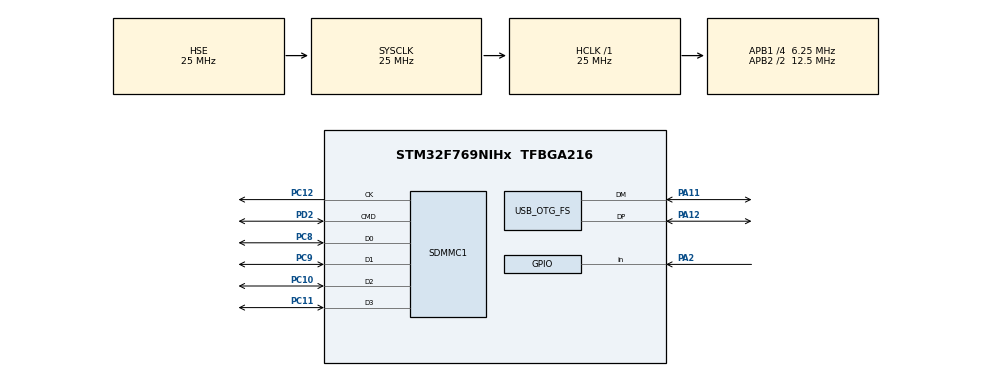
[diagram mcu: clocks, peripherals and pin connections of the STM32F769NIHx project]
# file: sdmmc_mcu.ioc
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CORTEX_M7.default_mode_Activation=1
FATFS.BSP.number=1
FATFS0.BSP.STBoard=false
FATFS0.BSP.api=Unknown
FATFS0.BSP.instance=PA2
FATFS0.BSP.ip=GPIO
FATFS0.BSP.mode=Input
FATFS0.BSP.name=Detect_SDIO
FATFS0.BSP.solution=PA2
Mcu.Family=STM32F7
Mcu.Name=STM32F769NIHx
Mcu.Package=TFBGA216
NVIC.OTG_FS_IRQn=true\:0\:0\:false\:false\:true\:false\:true\:true
NVIC.PriorityGroup=NVIC_PRIORITYGROUP_4
PA11.Mode=Device_Only
PA11.Signal=USB_OTG_FS_DM
PA12.Mode=Device_Only
PA12.Signal=USB_OTG_FS_DP
PA13.Mode=Serial_Wire
PA13.Signal=SYS_JTMS-SWDIO
PA14.Mode=Serial_Wire
PA14.Signal=SYS_JTCK-SWCLK
PA2.Signal=GPIO_Input
PC10.Mode=SD_4_bits_Wide_bus
PC10.Signal=SDMMC1_D2
PC11.Mode=SD_4_bits_Wide_bus
PC11.Signal=SDMMC1_D3
PC12.Mode=SD_4_bits_Wide_bus
PC12.Signal=SDMMC1_CK
PC8.Mode=SD_4_bits_Wide_bus
PC8.Signal=SDMMC1_D0
PC9.Mode=SD_4_bits_Wide_bus
PC9.Signal=SDMMC1_D1
PD2.Mode=SD_4_bits_Wide_bus
PD2.Signal=SDMMC1_CMD
PH0/OSC_IN.Mode=HSE-External-Oscillator
PH0/OSC_IN.Signal=RCC_OSC_IN
PH1/OSC_OUT.Mode=HSE-External-Oscillator
PH1/OSC_OUT.Signal=RCC_OSC_OUT
ProjectManager.HeapSize=0x200
ProjectManager.StackSize=0x400
ProjectManager.TargetToolchain=STM32CubeIDE
RCC.AHBFreq_Value=25000000
RCC.APB1CLKDivider=RCC_HCLK_DIV4
RCC.APB1Freq_Value=6250000
RCC.APB1TimFreq_Value=12500000
RCC.APB2CLKDivider=RCC_HCLK_DIV2
RCC.APB2Freq_Value=12500000
RCC.APB2TimFreq_Value=25000000
RCC.CortexFreq_Value=25000000
RCC.HCLKFreq_Value=25000000
RCC.HSE_VALUE=25000000
RCC.HSI_VALUE=16000000
RCC.LSE_VALUE=32768
RCC.PLLM=15
RCC.PLLN=144
RCC.PLLQ=5
RCC.SDMMCClockSelection=RCC_SDMMC1CLKSOURCE_CLK48
RCC.SYSCLKFreq_VALUE=25000000
RCC.SYSCLKSource=RCC_SYSCLKSOURCE_HSE
RCC.USBFreq_Value=48000000
RCC.VCOOutputFreq_Value=240000000
SDMMC1.ClockDiv=4
USB_DEVICE.CLASS_NAME_FS=CDC
USB_DEVICE.PRODUCT_STRING_CDC_FS=STM32 Test Port
USB_DEVICE.VirtualMode-CDC_FS=Cdc
USB_DEVICE.VirtualModeFS=Cdc_FS
USB_OTG_FS.VirtualMode=Device_Only
VP_FATFS_VS_SDIO.Mode=SDIO
VP_USB_DEVICE_VS_USB_DEVICE_CDC_FS.Mode=CDC_FS
board=custom

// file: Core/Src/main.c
/* USER CODE BEGIN Header */
/**
  ******************************************************************************
  * @file           : main.c
  * @brief          : Main program body
  ******************************************************************************
  * @attention
  *
  * Copyright (c) 2026 STMicroelectronics.
  * All rights reserved.
  *
  * This software is licensed under terms that can be found in the LICENSE file
  * in the root directory of this software component.
  * If no LICENSE file comes with this software, it is provided AS-IS.
  *
  ******************************************************************************
  */
/* USER CODE END Header */
#include "main.h"
#include "fatfs.h"
#include "usb_device.h"
#include "usbd_cdc_if.h"

SD_HandleTypeDef hsd1;

void SystemClock_Config(void);
static void MPU_Config(void);
static void MX_GPIO_Init(void);
static void MX_SDMMC1_SD_Init(void);

/* USER CODE BEGIN 0 */
void SD_CreateCSV(void)
{
    FIL fil;
    UINT bw;

    // Dosya yoksa oluştur ve header yaz
    FRESULT res = f_open(&fil, "data.csv", FA_CREATE_NEW | FA_WRITE);
    if (res == FR_OK)
    {
        char header[] = "timestamp,temperature,humidity\r\n";
        f_write(&fil, header, strlen(header), &bw);
        f_close(&fil);
    }
}

void SD_WriteCSV(float temperature, float humidity, uint32_t timestamp)
{
    FIL fil;
    UINT bw;
    char line[64];

    // Dosyayı aç (varsa sonuna ekle, yoksa oluştur)
    FRESULT res = f_open(&fil, "data.csv", FA_OPEN_APPEND | FA_WRITE);
    if (res == FR_OK)
    {
        snprintf(line, sizeof(line), "%lu,%.2f,%.2f\r\n",
                 timestamp, temperature, humidity);
        f_write(&fil, line, strlen(line), &bw);
        f_close(&fil);
    }
}
/* USER CODE END 0 */

int main(void)
{

  /* MPU Configuration--------------------------------------------------------*/
  MPU_Config();

  /* MCU Configuration--------------------------------------------------------*/

  /* Reset of all peripherals, Initializes the Flash interface and the Systick. */
  HAL_Init();

  /* Configure the system clock */
  SystemClock_Config();

  /* Initialize all configured peripherals */
  MX_GPIO_Init();
  MX_SDMMC1_SD_Init();
  MX_FATFS_Init();
  MX_USB_DEVICE_Init();
  /* USER CODE BEGIN 2 */
  HAL_Delay(1000);

  FRESULT res;

  res = f_mount(&SDFatFS, SDPath, 1);

  printf("mount=%d\r\n", res);
  //txt örneği
//  HAL_Delay(500);
//
//  FRESULT res = f_mount(&SDFatFS, SDPath, 0);
//  if (res == FR_OK)
//  {
//      FIL fil;
//      UINT bw;
//      res = f_open(&fil, "test.txt", FA_CREATE_ALWAYS | FA_WRITE);
//      if (res == FR_OK)
//      {
//          f_write(&fil, "Merhaba SD Card!\r\n", 18, &bw);
//          f_close(&fil);
//      }
//  }
//  FIL fil2;
//  UINT br;
//  char rbuf[32] = {0};
//  res = f_open(&fil2, "test.txt", FA_READ);
//  if (res == FR_OK)
//  {
//      f_read(&fil2, rbuf, 18, &br);
//      f_close(&fil2);
//      // rbuf breakpoint
//  }
  SD_CreateCSV();
  uint8_t msg[] = "Test USB OTG\r\n";
  /* USER CODE END 2 */

  /* Infinite loop */
  while (1)
  {

    /* USER CODE BEGIN 3 */
	    CDC_Transmit_FS(msg, sizeof(msg)-1);
	    HAL_Delay(1000);
//	    float temp = 23.5; // sensörden gelecek
//	    float hum  = 65.0;
//	    uint32_t ts = HAL_GetTick();
//
//	    SD_WriteCSV(temp, hum, ts);
//	    HAL_Delay(1000); // her saniye kayıt
  }
  /* USER CODE END 3 */
}

void SystemClock_Config(void)
{
  RCC_OscInitTypeDef RCC_OscInitStruct = {0};
  RCC_ClkInitTypeDef RCC_ClkInitStruct = {0};

  /** Configure the main internal regulator output voltage
  */
  __HAL_RCC_PWR_CLK_ENABLE();
  __HAL_PWR_VOLTAGESCALING_CONFIG(PWR_REGULATOR_VOLTAGE_SCALE3);

  /** Initializes the RCC Oscillators according to the specified parameters
  * in the RCC_OscInitTypeDef structure.
  */
  RCC_OscInitStruct.OscillatorType = RCC_OSCILLATORTYPE_HSE;
  RCC_OscInitStruct.HSEState = RCC_HSE_ON;
  RCC_OscInitStruct.PLL.PLLState = RCC_PLL_ON;
  RCC_OscInitStruct.PLL.PLLSource = RCC_PLLSOURCE_HSE;
  RCC_OscInitStruct.PLL.PLLM = 15;
  RCC_OscInitStruct.PLL.PLLN = 144;
  RCC_OscInitStruct.PLL.PLLP = RCC_PLLP_DIV2;
  RCC_OscInitStruct.PLL.PLLQ = 5;
  RCC_OscInitStruct.PLL.PLLR = 2;
  if (HAL_RCC_OscConfig(&RCC_OscInitStruct) != HAL_OK)
  {
    Error_Handler();
  }

  /** Initializes the CPU, AHB and APB buses clocks
  */
  RCC_ClkInitStruct.ClockType = RCC_CLOCKTYPE_HCLK|RCC_CLOCKTYPE_SYSCLK
                              |RCC_CLOCKTYPE_PCLK1|RCC_CLOCKTYPE_PCLK2;
  RCC_ClkInitStruct.SYSCLKSource = RCC_SYSCLKSOURCE_HSE;
  RCC_ClkInitStruct.AHBCLKDivider = RCC_SYSCLK_DIV1;
  RCC_ClkInitStruct.APB1CLKDivider = RCC_HCLK_DIV4;
  RCC_ClkInitStruct.APB2CLKDivider = RCC_HCLK_DIV2;

  if (HAL_RCC_ClockConfig(&RCC_ClkInitStruct, FLASH_LATENCY_0) != HAL_OK)
  {
    Error_Handler();
  }
}

static void MX_SDMMC1_SD_Init(void)
{

  hsd1.Instance = SDMMC1;
  hsd1.Init.ClockEdge = SDMMC_CLOCK_EDGE_RISING;
  hsd1.Init.ClockBypass = SDMMC_CLOCK_BYPASS_DISABLE;
  hsd1.Init.ClockPowerSave = SDMMC_CLOCK_POWER_SAVE_DISABLE;
  hsd1.Init.BusWide = SDMMC_BUS_WIDE_1B;
  hsd1.Init.HardwareFlowControl = SDMMC_HARDWARE_FLOW_CONTROL_DISABLE;
  hsd1.Init.ClockDiv = 4;

}

static void MX_GPIO_Init(void)
{
  GPIO_InitTypeDef GPIO_InitStruct = {0};

  /* GPIO Ports Clock Enable */
  __HAL_RCC_GPIOC_CLK_ENABLE();
  __HAL_RCC_GPIOA_CLK_ENABLE();
  __HAL_RCC_GPIOD_CLK_ENABLE();
  __HAL_RCC_GPIOH_CLK_ENABLE();

  /*Configure GPIO pin : PA2 */
  GPIO_InitStruct.Pin = GPIO_PIN_2;
  GPIO_InitStruct.Mode = GPIO_MODE_INPUT;
  GPIO_InitStruct.Pull = GPIO_NOPULL;
  HAL_GPIO_Init(GPIOA, &GPIO_InitStruct);

}

 /* MPU Configuration */

void MPU_Config(void)
{
  MPU_Region_InitTypeDef MPU_InitStruct = {0};

  /* Disables the MPU */
  HAL_MPU_Disable();

  /** Initializes and configures the Region and the memory to be protected
  */
  MPU_InitStruct.Enable = MPU_REGION_ENABLE;
  MPU_InitStruct.Number = MPU_REGION_NUMBER0;
  MPU_InitStruct.BaseAddress = 0x0;
  MPU_InitStruct.Size = MPU_REGION_SIZE_4GB;
  MPU_InitStruct.SubRegionDisable = 0x87;
  MPU_InitStruct.TypeExtField = MPU_TEX_LEVEL0;
  MPU_InitStruct.AccessPermission = MPU_REGION_NO_ACCESS;
  MPU_InitStruct.DisableExec = MPU_INSTRUCTION_ACCESS_DISABLE;
  MPU_InitStruct.IsShareable = MPU_ACCESS_SHAREABLE;
  MPU_InitStruct.IsCacheable = MPU_ACCESS_NOT_CACHEABLE;
  MPU_InitStruct.IsBufferable = MPU_ACCESS_NOT_BUFFERABLE;

  HAL_MPU_ConfigRegion(&MPU_InitStruct);
  /* Enables the MPU */
  HAL_MPU_Enable(MPU_PRIVILEGED_DEFAULT);

}

void Error_Handler(void)
{
  __disable_irq();
  while (1)
  {
  }
}
